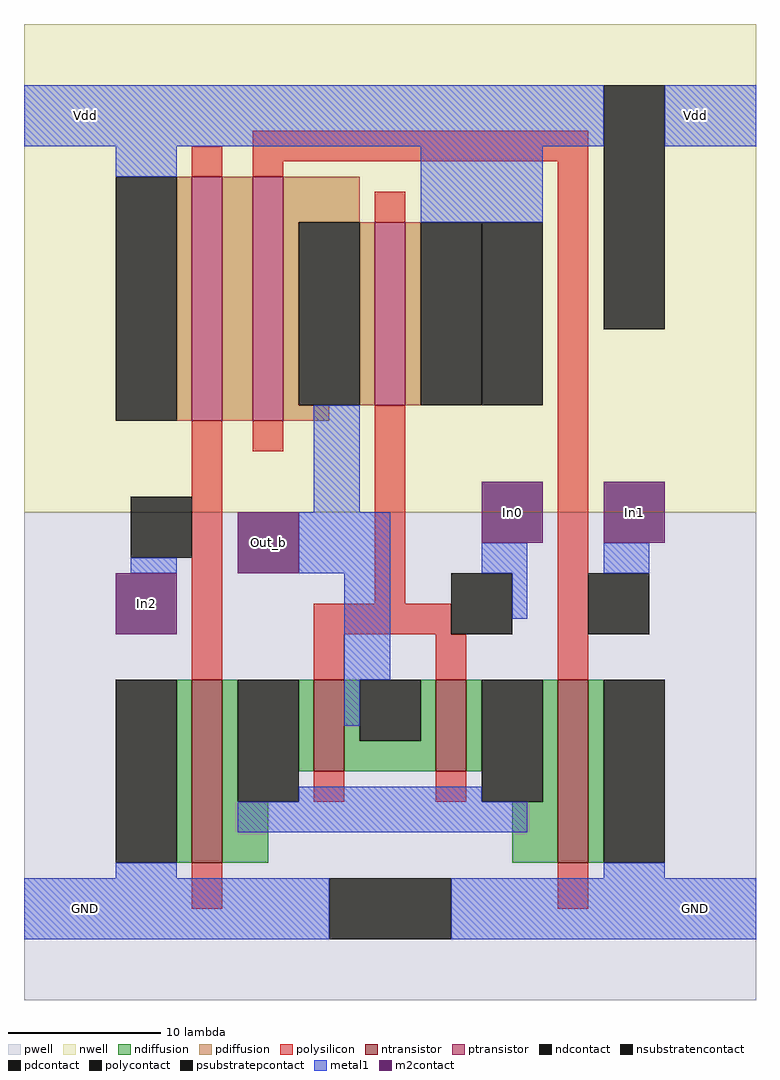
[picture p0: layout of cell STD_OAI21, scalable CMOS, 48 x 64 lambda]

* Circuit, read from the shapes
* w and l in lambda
.subckt STD_OAI21 GND In0 In1 In2 Out_b Vdd
M1 n1 In2 GND GND nfet w=12 l=2
M2 Out_b In0 n1 GND nfet w=6 l=2 m=2
M3 GND In1 n1 GND nfet w=12 l=2
M4 n2 In2 Vdd Vdd pfet w=16 l=2
M5 Out_b In1 n2 Vdd pfet w=16 l=2
M6 Vdd In0 Out_b Vdd pfet w=12 l=2
.ends

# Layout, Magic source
magic
tech scmos
<< pwell >>
rect 0 0 48 32
<< nwell >>
rect 0 32 48 64
<< polysilicon >>
rect 11 54 13 56
rect 15 55 37 57
rect 15 54 17 55
rect 23 51 25 53
rect 11 21 13 38
rect 15 36 17 38
rect 23 26 25 39
rect 19 24 28 26
rect 19 21 21 24
rect 27 21 29 24
rect 35 21 37 55
rect 19 13 21 15
rect 27 13 29 15
rect 11 6 13 9
rect 35 6 37 9
<< ndiffusion >>
rect 10 9 11 21
rect 13 13 14 21
rect 18 15 19 21
rect 21 17 22 21
rect 26 17 27 21
rect 21 15 27 17
rect 29 15 30 21
rect 34 13 35 21
rect 13 9 16 13
rect 32 9 35 13
rect 37 9 38 21
<< pdiffusion >>
rect 10 38 11 54
rect 13 38 15 54
rect 17 51 22 54
rect 17 39 18 51
rect 22 39 23 51
rect 25 39 26 51
rect 17 38 20 39
<< metal1 >>
rect 0 56 38 60
rect 6 54 10 56
rect 26 51 34 56
rect 42 56 48 60
rect 19 32 22 39
rect 7 28 10 29
rect 18 28 24 32
rect 30 28 33 30
rect 38 28 41 30
rect 21 21 24 28
rect 32 25 33 28
rect 21 18 22 21
rect 18 13 30 14
rect 14 11 33 13
rect 6 8 10 9
rect 38 8 42 9
rect 0 4 20 8
rect 28 4 48 8
<< ntransistor >>
rect 11 9 13 21
rect 19 15 21 21
rect 27 15 29 21
rect 35 9 37 21
<< ptransistor >>
rect 11 38 13 54
rect 15 38 17 54
rect 23 39 25 51
<< polycontact >>
rect 7 29 11 33
rect 28 24 32 28
rect 37 24 41 28
<< ndcontact >>
rect 6 9 10 21
rect 14 13 18 21
rect 22 17 26 21
rect 30 13 34 21
rect 38 9 42 21
<< pdcontact >>
rect 6 38 10 54
rect 18 39 22 51
rect 26 39 30 51
<< m2contact >>
rect 14 28 18 32
rect 30 30 34 34
rect 38 30 42 34
rect 6 24 10 28
<< psubstratepcontact >>
rect 20 4 28 8
<< nsubstratencontact >>
rect 30 39 34 51
rect 38 44 42 60
<< labels >>
rlabel m2contact 8 26 8 26 6 In2
rlabel m2contact 16 30 16 30 6 Out_b
rlabel metal1 4 6 4 6 6 GND
rlabel metal1 44 6 44 6 6 GND
rlabel metal1 44 58 44 58 6 Vdd
rlabel metal1 4 58 4 58 6 Vdd
rlabel m2contact 32 32 32 32 6 In0
rlabel m2contact 40 32 40 32 6 In1
<< end >>
